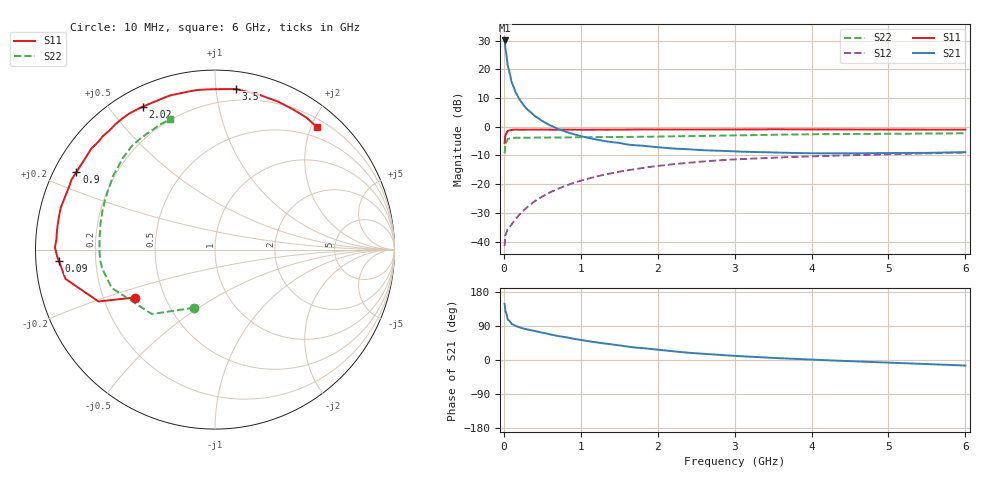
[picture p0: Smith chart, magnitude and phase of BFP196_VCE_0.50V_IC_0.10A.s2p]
! Infineon Technologies  Discrete & RF Semiconductors
! BFP196
! VCE = 0.50V,  IC = 0.10A
! Common Emitter S-Parameters:  Jan 2016
# GHz  S  MA  R  50
!  f  S11  S21  S12  S22
! GHz  MAG  ANG  MAG  ANG  MAG  ANG  MAG  ANG
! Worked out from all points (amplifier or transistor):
!   210 points, 10 MHz to 6 GHz, reference 50 ohm
!   highest |S21| = 30.0 dB at 10 MHz (marker M1)
!   |S21| within 3 dB of that: start of sweep to 22.23 MHz
!   unconditionally stable (mu >= 1): start of sweep to 16.86 MHz; 120.5 MHz to end of sweep
!   at 185 MHz: K = 1.16, MAG = 18.4 dB, |S12| = -31.2 dB
!   at 1.52 GHz: K = 1.28, MAG = 1.7 dB, |S12| = -15.6 dB
!   at 6 GHz: K = 1.08, MAG = -1.7 dB, |S12| = -9.0 dB
!   S11 on the Smith chart (normalised r, x): 10 MHz: 0.34, -0.25; 90 MHz: 0.07, -0.04; 900 MHz: 0.07, +0.26; 2.02 GHz: 0.08, +0.61; 3.5 GHz: 0.12, +1.13; 6 GHz: 0.33, +2.10
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0.01  0.5217 -149.2  31.75 148.4  0.0083 49.6  0.3433 -109.6
0.02  0.7104 -156.0  23.44 128.9  0.0128 41.2  0.5028 -134.4
0.05  0.8487 -168.9  11.59 106.6  0.0163 35.2  0.6142 -159.7
0.09  0.872 -175.8  7.087 99.0  0.019 41.5  0.6314 -168.5
0.1  0.8797 -177.4  5.998 95.4  0.0197 42.8  0.6379 -170.6
0.15  0.8918 179.2  4.04 90.1  0.0244 49.3  0.6424 -174.7
0.2  0.8851 176.2  3.042 86.1  0.0291 55.0  0.642 -177.0
0.24  0.8863 174.3  2.545 83.9  0.033 57.6  0.6434 -178.4
0.3  0.8872 171.7  2.029 80.9  0.0392 61.0  0.6429 180.0
0.4  0.8893 167.6  1.543 76.2  0.0501 63.1  0.6441 178.0
0.5  0.8903 164.7  1.254 72.0  0.0607 64.3  0.6451 176.3
0.6  0.8854 160.9  1.057 67.6  0.0718 64.4  0.6457 174.8
0.7  0.8847 157.0  0.922 63.4  0.0824 63.7  0.6462 173.4
0.9  0.885 150.8  0.745 56.3  0.1042 61.4  0.6489 170.6
1.02  0.8829 146.4  0.675 52.3  0.1167 59.7  0.6518 169.0
1.6  0.8917 128.6  0.49 35.6  0.1733 49.9  0.6628 161.4
2.02  0.8925 116.8  0.437 26.8  0.2085 42.0  0.6726 155.4
3.1  0.8933 90.2  0.367 9.9  0.2733 23.5  0.7083 140.3
3.5  0.9024 82.5  0.354 5.5  0.2899 17.5  0.7241 135.0
4.1  0.8956 72.4  0.343 0.2  0.3072 9.5  0.7406 127.7
5.1  0.8934 59.6  0.349 -7.7  0.3327 -1.8  0.7523 117.5
6  0.8876 50.1  0.36 -14.6  0.3545 -11.7  0.7682 109.0
